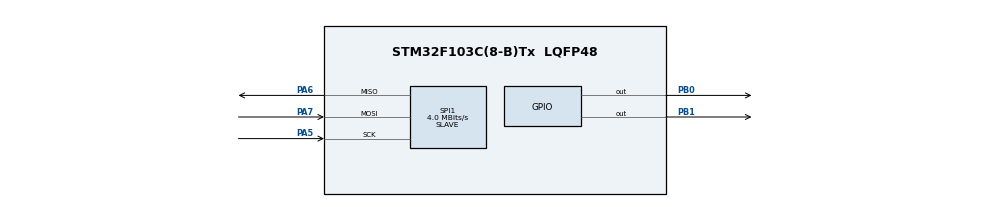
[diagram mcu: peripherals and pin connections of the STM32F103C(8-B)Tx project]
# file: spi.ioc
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FREERTOS.Queues01=commands,16,Command,NULL,Dynamic,NULL,NULL
FREERTOS.Tasks01=defaultTask,0,128,StartDefaultTask,Default,NULL,Dynamic,NULL,NULL;spi,-3,128,spiTask,Default,NULL,Dynamic,NULL,NULL
Mcu.Family=STM32F1
Mcu.Name=STM32F103C(8-B)Tx
Mcu.Package=LQFP48
NVIC.PriorityGroup=NVIC_PRIORITYGROUP_4
NVIC.SPI1_IRQn=true\:5\:0\:false\:false\:true\:true\:true
PA13.Mode=Serial_Wire
PA13.Signal=SYS_JTMS-SWDIO
PA14.Mode=Serial_Wire
PA14.Signal=SYS_JTCK-SWCLK
PA5.Mode=Full_Duplex_Slave
PA5.Signal=SPI1_SCK
PA6.Mode=Full_Duplex_Slave
PA6.Signal=SPI1_MISO
PA7.Mode=Full_Duplex_Slave
PA7.Signal=SPI1_MOSI
PB0.Signal=GPIO_Output
PB1.Signal=GPIO_Output
ProjectManager.HeapSize=0x200
ProjectManager.StackSize=0x400
ProjectManager.TargetToolchain=SW4STM32
RCC.APB1Freq_Value=8000000
RCC.APB2Freq_Value=8000000
SPI1.CalculateBaudRate=4.0 MBits/s
SPI1.Direction=SPI_DIRECTION_2LINES
SPI1.Mode=SPI_MODE_SLAVE
SPI1.VirtualType=VM_SLAVE
VP_FREERTOS_VS_ENABLE.Mode=Enabled
board=spi

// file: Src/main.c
/**
  ******************************************************************************
  * File Name          : main.c
  * Description        : Main program body
  ******************************************************************************
  * This notice applies to any and all portions of this file
  * that are not between comment pairs USER CODE BEGIN and
  * USER CODE END. Other portions of this file, whether
  * inserted by the user or by software development tools
  * are owned by their respective copyright owners.
  *
  * Copyright (c) 2018 STMicroelectronics International N.V.
  * All rights reserved.
  *
  * Redistribution and use in source and binary forms, with or without
  * modification, are permitted, provided that the following conditions are met:
  *
  * 1. Redistribution of source code must retain the above copyright notice,
  *    this list of conditions and the following disclaimer.
  * 2. Redistributions in binary form must reproduce the above copyright notice,
  *    this list of conditions and the following disclaimer in the documentation
  *    and/or other materials provided with the distribution.
  * 3. Neither the name of STMicroelectronics nor the names of other
  *    contributors to this software may be used to endorse or promote products
  *    derived from this software without specific written permission.
  * 4. This software, including modifications and/or derivative works of this
  *    software, must execute solely and exclusively on microcontroller or
  *    microprocessor devices manufactured by or for STMicroelectronics.
  * 5. Redistribution and use of this software other than as permitted under
  *    this license is void and will automatically terminate your rights under
  *    this license.
  *
  * THIS SOFTWARE IS PROVIDED BY STMICROELECTRONICS AND CONTRIBUTORS "AS IS"
  * AND ANY EXPRESS, IMPLIED OR STATUTORY WARRANTIES, INCLUDING, BUT NOT
  * LIMITED TO, THE IMPLIED WARRANTIES OF MERCHANTABILITY, FITNESS FOR A
  * PARTICULAR PURPOSE AND NON-INFRINGEMENT OF THIRD PARTY INTELLECTUAL PROPERTY
  * RIGHTS ARE DISCLAIMED TO THE FULLEST EXTENT PERMITTED BY LAW. IN NO EVENT
  * SHALL STMICROELECTRONICS OR CONTRIBUTORS BE LIABLE FOR ANY DIRECT, INDIRECT,
  * INCIDENTAL, SPECIAL, EXEMPLARY, OR CONSEQUENTIAL DAMAGES (INCLUDING, BUT NOT
  * LIMITED TO, PROCUREMENT OF SUBSTITUTE GOODS OR SERVICES; LOSS OF USE, DATA,
  * OR PROFITS; OR BUSINESS INTERRUPTION) HOWEVER CAUSED AND ON ANY THEORY OF
  * LIABILITY, WHETHER IN CONTRACT, STRICT LIABILITY, OR TORT (INCLUDING
  * NEGLIGENCE OR OTHERWISE) ARISING IN ANY WAY OUT OF THE USE OF THIS SOFTWARE,
  * EVEN IF ADVISED OF THE POSSIBILITY OF SUCH DAMAGE.
  *
  ******************************************************************************
  */

#include "main.h"
#include "stm32f1xx_hal.h"
#include "cmsis_os.h"
#include "spi.h"
#include "gpio.h"

/* USER CODE BEGIN PV */
/* Private variables ---------------------------------------------------------*/

/* USER CODE END PV */

void SystemClock_Config(void);
void MX_FREERTOS_Init(void);

/* USER CODE BEGIN PFP */
/* Private function prototypes -----------------------------------------------*/

/* USER CODE END PFP */

int main(void)
{

  /* MCU Configuration----------------------------------------------------------*/

  /* Reset of all peripherals, Initializes the Flash interface and the Systick. */
  HAL_Init();

  /* Configure the system clock */
  SystemClock_Config();

  /* Initialize all configured peripherals */
  MX_GPIO_Init();
  MX_SPI1_Init();

  /* Call init function for freertos objects (in freertos.c) */
  MX_FREERTOS_Init();

  /* Start scheduler */
  osKernelStart();

  /* We should never get here as control is now taken by the scheduler */

  /* Infinite loop */
  while (1)
  {

  }

}

/** System Clock Configuration
*/
void SystemClock_Config(void)
{

  RCC_OscInitTypeDef RCC_OscInitStruct;
  RCC_ClkInitTypeDef RCC_ClkInitStruct;

    /**Initializes the CPU, AHB and APB busses clocks
    */
  RCC_OscInitStruct.OscillatorType = RCC_OSCILLATORTYPE_HSI;
  RCC_OscInitStruct.HSIState = RCC_HSI_ON;
  RCC_OscInitStruct.HSICalibrationValue = 16;
  RCC_OscInitStruct.PLL.PLLState = RCC_PLL_NONE;
  if (HAL_RCC_OscConfig(&RCC_OscInitStruct) != HAL_OK)
  {
    _Error_Handler(__FILE__, __LINE__);
  }

    /**Initializes the CPU, AHB and APB busses clocks
    */
  RCC_ClkInitStruct.ClockType = RCC_CLOCKTYPE_HCLK|RCC_CLOCKTYPE_SYSCLK
                              |RCC_CLOCKTYPE_PCLK1|RCC_CLOCKTYPE_PCLK2;
  RCC_ClkInitStruct.SYSCLKSource = RCC_SYSCLKSOURCE_HSI;
  RCC_ClkInitStruct.AHBCLKDivider = RCC_SYSCLK_DIV1;
  RCC_ClkInitStruct.APB1CLKDivider = RCC_HCLK_DIV1;
  RCC_ClkInitStruct.APB2CLKDivider = RCC_HCLK_DIV1;

  if (HAL_RCC_ClockConfig(&RCC_ClkInitStruct, FLASH_LATENCY_0) != HAL_OK)
  {
    _Error_Handler(__FILE__, __LINE__);
  }

    /**Configure the Systick interrupt time
    */
  HAL_SYSTICK_Config(HAL_RCC_GetHCLKFreq()/1000);

    /**Configure the Systick
    */
  HAL_SYSTICK_CLKSourceConfig(SYSTICK_CLKSOURCE_HCLK);

  /* SysTick_IRQn interrupt configuration */
  HAL_NVIC_SetPriority(SysTick_IRQn, 15, 0);
}

void _Error_Handler(char * file, int line)
{
  while(1)
  {
  }
}

/************************ (C) COPYRIGHT STMicroelectronics *****END OF FILE****/

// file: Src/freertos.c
/**
  ******************************************************************************
  * File Name          : freertos.c
  * Description        : Code for freertos applications
  ******************************************************************************
  * This notice applies to any and all portions of this file
  * that are not between comment pairs USER CODE BEGIN and
  * USER CODE END. Other portions of this file, whether
  * inserted by the user or by software development tools
  * are owned by their respective copyright owners.
  *
  * Copyright (c) 2018 STMicroelectronics International N.V.
  * All rights reserved.
  *
  * Redistribution and use in source and binary forms, with or without
  * modification, are permitted, provided that the following conditions are met:
  *
  * 1. Redistribution of source code must retain the above copyright notice,
  *    this list of conditions and the following disclaimer.
  * 2. Redistributions in binary form must reproduce the above copyright notice,
  *    this list of conditions and the following disclaimer in the documentation
  *    and/or other materials provided with the distribution.
  * 3. Neither the name of STMicroelectronics nor the names of other
  *    contributors to this software may be used to endorse or promote products
  *    derived from this software without specific written permission.
  * 4. This software, including modifications and/or derivative works of this
  *    software, must execute solely and exclusively on microcontroller or
  *    microprocessor devices manufactured by or for STMicroelectronics.
  * 5. Redistribution and use of this software other than as permitted under
  *    this license is void and will automatically terminate your rights under
  *    this license.
  *
  * THIS SOFTWARE IS PROVIDED BY STMICROELECTRONICS AND CONTRIBUTORS "AS IS"
  * AND ANY EXPRESS, IMPLIED OR STATUTORY WARRANTIES, INCLUDING, BUT NOT
  * LIMITED TO, THE IMPLIED WARRANTIES OF MERCHANTABILITY, FITNESS FOR A
  * PARTICULAR PURPOSE AND NON-INFRINGEMENT OF THIRD PARTY INTELLECTUAL PROPERTY
  * RIGHTS ARE DISCLAIMED TO THE FULLEST EXTENT PERMITTED BY LAW. IN NO EVENT
  * SHALL STMICROELECTRONICS OR CONTRIBUTORS BE LIABLE FOR ANY DIRECT, INDIRECT,
  * INCIDENTAL, SPECIAL, EXEMPLARY, OR CONSEQUENTIAL DAMAGES (INCLUDING, BUT NOT
  * LIMITED TO, PROCUREMENT OF SUBSTITUTE GOODS OR SERVICES; LOSS OF USE, DATA,
  * OR PROFITS; OR BUSINESS INTERRUPTION) HOWEVER CAUSED AND ON ANY THEORY OF
  * LIABILITY, WHETHER IN CONTRACT, STRICT LIABILITY, OR TORT (INCLUDING
  * NEGLIGENCE OR OTHERWISE) ARISING IN ANY WAY OUT OF THE USE OF THIS SOFTWARE,
  * EVEN IF ADVISED OF THE POSSIBILITY OF SUCH DAMAGE.
  *
  ******************************************************************************
  */

#include "FreeRTOS.h"
#include "task.h"
#include "cmsis_os.h"

/* USER CODE BEGIN Includes */
#include "stm32f1xx.h"
#include "spi.h"
/* USER CODE END Includes */

osThreadId defaultTaskHandle;
osThreadId spiHandle;
osMessageQId commandsHandle;

/* USER CODE BEGIN Variables */
extern uint8_t xSwitchRequired;

#define IRQ_GPIO GPIOB
#define IRQ_PIN GPIO_PIN_0

#define MAX_ARGS 4

typedef enum {
	CMD_READ = 0x10,
	CMD_SET,
	CMD_ADD,
	CMD_SUB,
	CMD_AND,
	CMD_OR,
} CommandType;

typedef union {
	uint8_t bytes[sizeof(int)];
	int word;
} Number;

typedef struct {
	uint8_t cmd;
	uint8_t argLen;
	Number args[MAX_ARGS];
} Command;

typedef enum {
	STATE_START,
	STATE_ARGLEN,
	STATE_READ,
	STATE_WRITE
} State;

Command current;
State state;
Number number;
uint8_t nil[MAX_ARGS * sizeof(int)];
uint8_t queueSize;
/* USER CODE END Variables */

void StartDefaultTask(void const * argument);
void spiTask(void const * argument);

void MX_FREERTOS_Init(void); /* (MISRA C 2004 rule 8.1) */

/* USER CODE BEGIN FunctionPrototypes */

void start_over();

/* USER CODE END FunctionPrototypes */

/* Hook prototypes */

/* Init FreeRTOS */

void MX_FREERTOS_Init(void) {

  /* Create the thread(s) */
  /* definition and creation of defaultTask */
  osThreadDef(defaultTask, StartDefaultTask, osPriorityNormal, 0, 128);
  defaultTaskHandle = osThreadCreate(osThread(defaultTask), NULL);

  /* definition and creation of spi */
  osThreadDef(spi, spiTask, osPriorityIdle, 0, 128);
  spiHandle = osThreadCreate(osThread(spi), NULL);

  /* Create the queue(s) */
  /* definition and creation of commands */
  osMessageQDef(commands, 16, Command);
  commandsHandle = osMessageCreate(osMessageQ(commands), NULL);

}

/* StartDefaultTask function */
void StartDefaultTask(void const * argument)
{

  /* USER CODE BEGIN StartDefaultTask */
  /* Infinite loop */
  for(;;)
  {
    osDelay(500);
    HAL_GPIO_TogglePin(GPIOB, GPIO_PIN_1);
  }
  /* USER CODE END StartDefaultTask */
}

/* spiTask function */
void spiTask(void const * argument)
{
  /* USER CODE BEGIN spiTask */
	HAL_GPIO_WritePin(IRQ_GPIO, IRQ_PIN, GPIO_PIN_RESET);

	start_over();
	Command cmd;

	for(;;) {
		configASSERT(xQueuePeek(commandsHandle, &cmd, portMAX_DELAY) == pdTRUE);

		HAL_Delay(2000);

		for(int i = 0; i < cmd.argLen; i++) {
			switch (cmd.cmd) {
				case CMD_SET:
					number.word = cmd.args[0].word;
					break;

				case CMD_ADD:
					number.word += cmd.args[i].word;
					break;

				case CMD_SUB:
					number.word -= cmd.args[i].word;
					break;

				case CMD_AND:
					number.word &= cmd.args[i].word;
					break;

				case CMD_OR:
					number.word |= cmd.args[i].word;
					break;
			}
		}

		configASSERT(xQueueReceive(commandsHandle, &cmd, portMAX_DELAY) == pdTRUE);
		queueSize = uxQueueMessagesWaiting(commandsHandle);
		HAL_GPIO_WritePin(IRQ_GPIO, IRQ_PIN, GPIO_PIN_SET);
		HAL_GPIO_WritePin(IRQ_GPIO, IRQ_PIN, GPIO_PIN_RESET);
	}
  /* USER CODE END spiTask */
}

/* USER CODE BEGIN Application */
void start_over() {
	state = STATE_START;
	queueSize = uxQueueMessagesWaitingFromISR(commandsHandle);
	configASSERT(HAL_SPI_TransmitReceive_IT(&hspi1, &queueSize, &current.cmd, 1) == HAL_OK);
}

void HAL_SPI_ErrorCallback(SPI_HandleTypeDef *hspi) {
	start_over();
}

void HAL_SPI_TxRxCpltCallback(SPI_HandleTypeDef *hspi) {
	if(state == STATE_START) {
		if(current.cmd == CMD_READ) {
			state = STATE_WRITE;
			configASSERT(HAL_SPI_TransmitReceive_IT(&hspi1, number.bytes, nil, sizeof(number)) == HAL_OK);
		} else {
			state = STATE_ARGLEN;
			configASSERT(HAL_SPI_TransmitReceive_IT(&hspi1, nil, &current.argLen, sizeof(current.argLen)) == HAL_OK);
		}
	} else if(state == STATE_READ) {
		BaseType_t ret = xQueueSendFromISR(commandsHandle, &current, &xSwitchRequired);
		configASSERT(ret == pdTRUE || ret == errQUEUE_FULL);
		start_over();
	} else if(state == STATE_ARGLEN) {
		state = STATE_READ;
		if(current.argLen > 0 && current.argLen <= MAX_ARGS) {
			configASSERT(HAL_SPI_TransmitReceive_IT(&hspi1, nil, current.args, sizeof(current.args[0]) * current.argLen) == HAL_OK);
		} else {
			start_over();
		}
	} else {
		start_over();
	}
}

/* USER CODE END Application */

/************************ (C) COPYRIGHT STMicroelectronics *****END OF FILE****/
